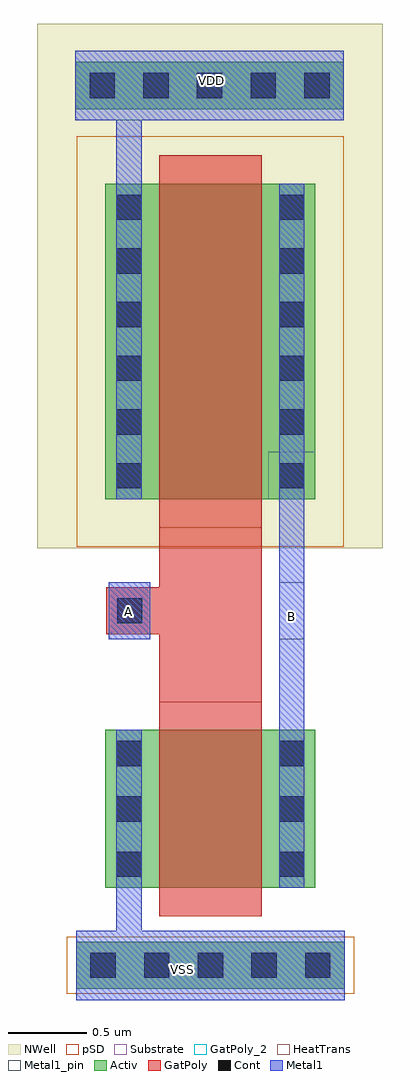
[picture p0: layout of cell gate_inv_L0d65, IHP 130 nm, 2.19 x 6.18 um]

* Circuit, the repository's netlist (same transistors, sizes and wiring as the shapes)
** sch_path: /foss/designs/chipathon_2025/designs/ihp-sg13g2/gate_inv_L0d65/xschem/gate_inv_L0d65.sch
.subckt gate_inv_L0d65 VDD B A VSS
*.PININFO B:O A:I VDD:B VSS:B
MN B A VSS VSS sg13_lv_nmos w=1u l=0.65u ng=1 m=1
MP B A VDD VDD sg13_lv_pmos w=2u l=0.65u ng=1 m=1
.ends

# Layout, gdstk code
from math import pi, radians
import gdstk
lib = gdstk.Library(unit=1e-6, precision=1e-09)
def R(c, l, rs):  # rectangles x0, y0, x1, y1
    for r in rs: c.add(gdstk.rectangle(r[:2], r[2:], *l))
def A(c, l, x, y, w, h, nx, ny, dx, dy):  # array of equal rectangles
    R(c, l, [(x+i*dx, y+j*dy, x+i*dx+w, y+j*dy+h) for i in range(nx) for j in range(ny)])
Activ = (1, 0)
GatPoly = (5, 0)
GatPoly_2 = (5, 2)
Cont = (6, 0)
Metal1 = (8, 0)
Metal1_pin = (8, 2)
pSD = (14, 0)
NWell = (31, 0)
Substrate = (40, 0)
HeatTrans = (51, 0)

via_stack_1 = lib.new_cell('via_stack$1')
R(via_stack_1, GatPoly, [(-0.15,-0.15,0.15,0.15)])
R(via_stack_1, Cont, [(-0.08,-0.08,0.08,0.08)])
R(via_stack_1, Metal1, [(-0.13,-0.08,0.13,0.08)])

pmos_1 = lib.new_cell('pmos$1')
R(pmos_1, Activ, [(0,0,0.3,0.3), (0,0,1.33,2), (1.03,0,1.33,0.3)])
R(pmos_1, GatPoly, [(0.34,-0.18,0.99,2.18), (0.34,-0.18,0.99,2.18)])
A(pmos_1, Cont, 0.07, 0.07, 0.16, 0.16, 1, 6, 0, 0.34)
A(pmos_1, Cont, 1.1, 0.07, 0.16, 0.16, 1, 6, 0, 0.34)
R(pmos_1, Metal1, [(0.07,0,0.23,2), (0.07,0,0.23,2), (1.1,0,1.26,2), (1.1,0,1.26,2)])
R(pmos_1, pSD, [(-0.18,-0.3,1.51,2.3)])
R(pmos_1, NWell, [(-0.31,-0.31,1.64,2.31)])
R(pmos_1, Substrate, [(1.03,0,1.33,0.3)])
R(pmos_1, HeatTrans, [(0.34,-0.18,0.99,2.18)])
pmos_1.add(gdstk.Label('pmos', (0.665,1), layer=63, texttype=0))
pmos_1.add(gdstk.Label('pmos', (0.665,1), layer=51, texttype=0))

nmos = lib.new_cell('nmos')
R(nmos, Activ, [(0,0,0.3,0.3), (0,0,1.33,1), (1.03,0,1.33,0.3)])
R(nmos, GatPoly, [(0.34,-0.18,0.99,1.18)])
R(nmos, GatPoly_2, [(0.34,-0.18,0.99,1.18)])
A(nmos, Cont, 0.07, 0.07, 0.16, 0.16, 1, 3, 0, 0.35)
A(nmos, Cont, 1.1, 0.07, 0.16, 0.16, 1, 3, 0, 0.35)
R(nmos, Metal1, [(0.07,0,0.23,1), (1.1,0,1.26,1)])
R(nmos, Metal1_pin, [(0.07,0,0.23,1), (1.1,0,1.26,1)])
R(nmos, HeatTrans, [(0.34,-0.18,0.99,1.18)])
nmos.add(gdstk.Label('nmos', (0.665,0.5), layer=63, texttype=0))
nmos.add(gdstk.Label('nmos', (0.665,0.5), layer=51, texttype=0))

via_stack_2 = lib.new_cell('via_stack$2')
R(via_stack_2, Activ, [(-0.83,-0.15,0.83,0.15)])
A(via_stack_2, Cont, -0.76, -0.08, 0.16, 0.16, 5, 1, 0.34, 0)
R(via_stack_2, Metal1, [(-0.81,-0.08,0.81,0.08)])

gate_inv_l0d65 = lib.new_cell('gate_inv_L0d65')
R(gate_inv_l0d65, Activ, [(3.725,0.05,5.425,0.35), (3.72,5.62,5.42,5.92)])
R(gate_inv_l0d65, GatPoly, [(4.25,1.87,4.9,2.97), (4.215,2.295,4.25,2.595)])
A(gate_inv_l0d65, Cont, 3.815, 0.12, 0.16, 0.16, 5, 1, 0.34, 0)
R(gate_inv_l0d65, Metal1, [(3.98,0.42,4.14,0.69), (5.01,1.69,5.17,3.15), (3.93,2.265,4.195,2.625), (3.98,5.15,4.14,5.55), (3.72,5.55,5.42,5.99), (3.74,5.62,5.4,5.92)])
R(gate_inv_l0d65, Metal1_pin, [(3.93,2.265,4.195,2.625), (5.01,2.265,5.17,2.625), (3.72,5.55,5.42,5.99)])
R(gate_inv_l0d65, pSD, [(3.665,0.02,5.485,0.38)])
R(gate_inv_l0d65, NWell, [(3.48,2.84,5.665,6.16)])
gate_inv_l0d65.add(gdstk.FlexPath([(3.725,0.2),(5.425,0.2)], 0.44, ends="flush", simple_path=True, layer=8, datatype=0))  # Metal1
gate_inv_l0d65.add(gdstk.Reference(via_stack_1, (4.065,2.445), rotation=3*pi/2))
gate_inv_l0d65.add(gdstk.Reference(pmos_1, (3.91,3.15)))
gate_inv_l0d65.add(gdstk.Reference(nmos, (3.91,0.69)))
gate_inv_l0d65.add(gdstk.Reference(via_stack_2, (4.57,5.77)))
gate_inv_l0d65.add(gdstk.Label('B', (5.09,2.41), layer=8, texttype=25))
gate_inv_l0d65.add(gdstk.Label('VSS', (4.4,0.17), layer=8, texttype=25))
gate_inv_l0d65.add(gdstk.Label('A', (4.058,2.443), layer=8, texttype=25))
gate_inv_l0d65.add(gdstk.Label('VDD', (4.58,5.805), layer=8, texttype=25))

lib.write_gds('gate_inv_L0d65.gds')
